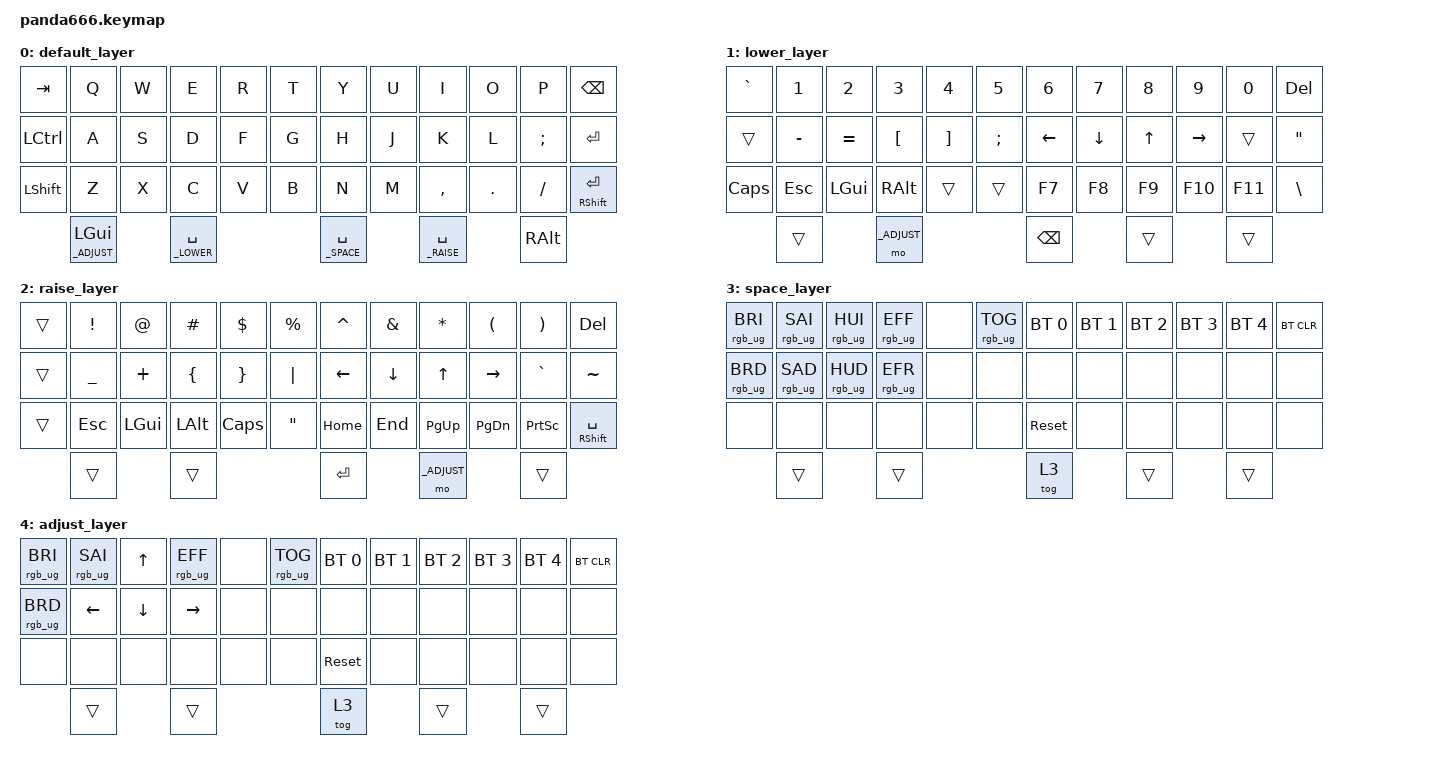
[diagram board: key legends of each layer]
/*
 * Copyright (c) 2020 The ZMK Contributors
 *
 * SPDX-License-Identifier: MIT
 */

#include <behaviors.dtsi>
#include <dt-bindings/zmk/keys.h>
#include <dt-bindings/zmk/bt.h>
#include <dt-bindings/zmk/rgb.h>
#include <dt-bindings/zmk/outputs.h>
#include <dt-bindings/zmk/ext_power.h>
#include <dt-bindings/led/led.h>

// Layers
#define _QWERTY      0
#define _LOWER       1
#define _RAISE       2
#define _SPACE       3
#define _ADJUST      4

/ {
        keymap {
                compatible = "zmk,keymap";

                default_layer {
// -------------------------------------------------------------------------------------
// |  TAB |  Q  |  W  |  E  |  R  |  T  |   |  Y  |  U   |  I  |  O  |  P  |   BKSP    |
// | CTRL |  A  |  S  |  D  |  F  |  G  |   |  H  |  J   |  K  |  L  |  ;  |   ENTER   |
// | SHFT |  Z  |  X  |  C  |  V  |  B  |   |  N  |  M   |  ,  |  .  |  /  | SHFT(RET) |
//                         | GUI | LWR | SPC | RSE  | ALT |
                        bindings = <
   &kp TAB   &kp Q &kp W &kp E &kp R &kp T   &kp Y &kp U  &kp I     &kp O   &kp P    &kp BSPC
   &kp LCTRL &kp A &kp S &kp D &kp F &kp G   &kp H &kp J  &kp K     &kp L   &kp SEMI &kp RET
   &kp LSHFT &kp Z &kp X &kp C &kp V &kp B   &kp N &kp M  &kp COMMA &kp DOT &kp FSLH &mt RSHFT RET
          &lt _ADJUST LGUI  &lt _LOWER SPACE &lt _SPACE SPACE &lt _RAISE SPACE &kp RALT
                        >;
                };

                lower_layer {
// ----------------------------------------------------------------------------
// |  ` |  1  |  2  |  3  |  4  |  5  |   |  6  |  7  |  8  |  9  |  0  | DEL |
// |    |  -  |  =  |  [  |  ]  |  ;  |   | LFT | DWN |  UP | RGT |     |  "  |
// |CAPS| ESC | GUI | ALT |     |     |   | F7  | F8  | F9  | F10 | F11 |  \  |
//                       |     | ADJ | BKSP |    |     |
                        bindings = <
   &kp GRAVE &kp N1    &kp N2    &kp N3    &kp N4    &kp N5        &kp N6    &kp N7    &kp N8    &kp N9    &kp N0    &kp DEL
   &trans &kp MINUS &kp EQUAL &kp LBKT  &kp RBKT  &kp SEMI      &kp LEFT    &kp DOWN    &kp UP    &kp RIGHT    &trans    &kp DQT
   &kp CLCK &kp ESC   &kp LGUI  &kp RALT  &trans  &trans       &kp F7    &kp F8    &kp F9    &kp F10   &kp F11   &kp BSLH
                                &trans      &mo _ADJUST       &kp BSPC        &trans      &trans
                        >;
                };

                raise_layer {
// ------------------------------------------------------------------------------------
// |    |  !  |  @  |  #  |  $  |  %  |   |  ^  |  &  |  *  |  (  |  )  |      DEL    |
// |    |  _  |  +  |  {  |  }  | "|" |   | LFT | DWN |  UP | RGT |  `  |       ~     |
// |    | ESC | GUI | ALT | CAPS|  "  |   | HOME| END | PGUP| PGDN| PRSC| SHFT(SPACE) |
//                       |     |     | RET | ADJ |     |
                        bindings = <
   &trans &kp EXCL  &kp AT      &kp HASH &kp DLLR &kp PRCNT      &kp CARET &kp AMPS &kp ASTRK &kp LPAR  &kp RPAR  &kp DEL
   &trans &kp UNDER &kp PLUS    &kp LBRC &kp RBRC &kp PIPE       &kp LEFT  &kp DOWN &kp UP    &kp RIGHT &kp GRAVE &kp TILDE
   &trans &kp ESC   &kp LGUI    &kp LALT &kp CLCK &kp DQT        &kp HOME  &kp END  &kp PG_UP &kp PG_DN &kp PSCRN &mt RSHFT SPACE
                                 &trans      &trans       &kp RET        &mo _ADJUST       &trans
                        >;
                };

                space_layer {
// -----------------------------------------------------------------------------------------
// | RGB BRI+ | RGB SAT+ | RGB HUE+ | RGB ANI+ |    | RGB TOG |   |  BT1  | BT2 | BT3 | BT4 | BT5 | BT CLR |
// | RGB BRI- | RGB SAT- | RGB HUE- | RGB ANI- |    |         |   |       |     |     |     |     |        |
// |          |          |          |          |    |         |   | RESET |     |     |     |     |        |
//                                              |     |     |     |     |     |
                        bindings = <
   &rgb_ug RGB_BRI &rgb_ug RGB_SAI &rgb_ug RGB_HUI &rgb_ug RGB_EFF &none &rgb_ug RGB_TOG    &bt BT_SEL 0 &bt BT_SEL 1 &bt BT_SEL 2 &bt BT_SEL 3 &bt BT_SEL 4 &bt BT_CLR
   &rgb_ug RGB_BRD &rgb_ug RGB_SAD &rgb_ug RGB_HUD &rgb_ug RGB_EFR &none &none              &none        &none        &none        &none        &none        &none
   &none           &none           &none           &none           &none &none              &sys_reset       &none        &none        &none        &none        &none
                                                             &trans      &trans       &tog 3        &trans      &trans
                        >;
                };

                adjust_layer {
// -----------------------------------------------------------------------------------------
// | RGB BRI+ | RGB SAT+ | RGB HUE+ | RGB ANI+ |    | RGB TOG |   |  BT1  | BT2 | BT3 | BT4 | BT5 | BT CLR |
// | RGB BRI- | RGB SAT- | RGB HUE- | RGB ANI- |    |         |   |       |     |     |     |     |        |
// |          |          |          |          |    |         |   | RESET |     |     |     |     |        |
//                                              |     |     |     |     |     |
                        bindings = <
   &rgb_ug RGB_BRI &rgb_ug RGB_SAI &kp UP &rgb_ug RGB_EFF &none &rgb_ug RGB_TOG    &bt BT_SEL 0 &bt BT_SEL 1 &bt BT_SEL 2 &bt BT_SEL 3 &bt BT_SEL 4 &bt BT_CLR
   &rgb_ug RGB_BRD &kp LEFT &kp DOWN &kp RIGHT &none &none              &none        &none        &none        &none        &none        &none
   &none           &none           &none           &none           &none &none              &sys_reset       &none        &none        &none        &none        &none
                                                             &trans      &trans       &tog 3        &trans      &trans
                        >;
                };

        };
};
